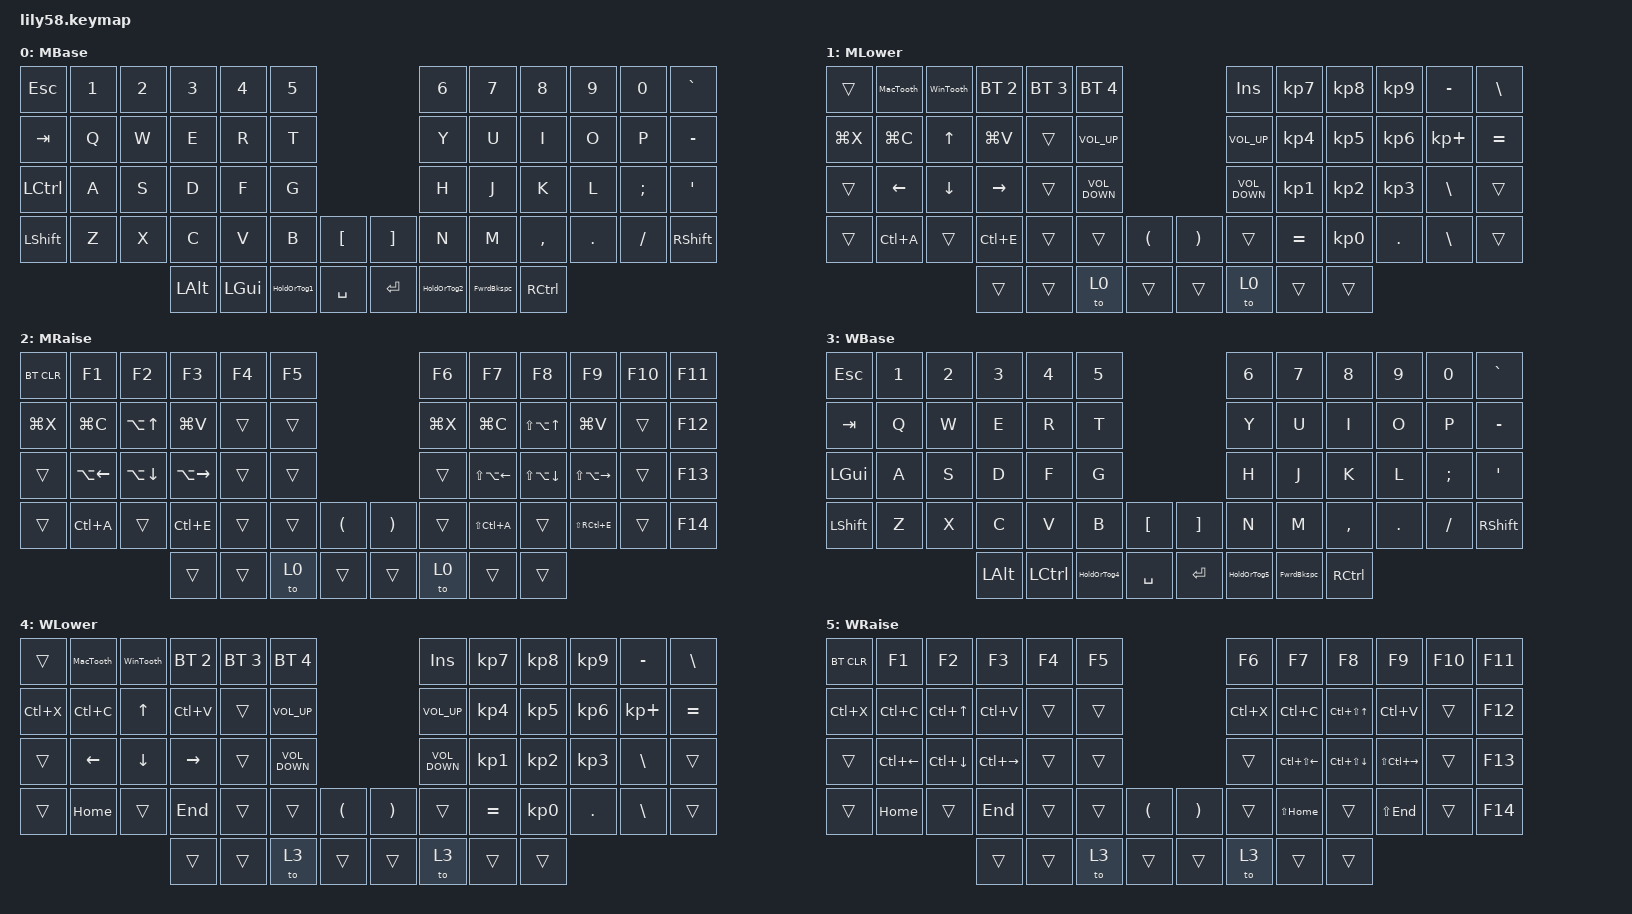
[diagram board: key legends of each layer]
/*
 * Copyright (c) 2020 The ZMK Contributors
 *
 * SPDX-License-Identifier: MIT
 */

#include <behaviors.dtsi>
#include <dt-bindings/zmk/bt.h>
#include <dt-bindings/zmk/keys.h>

&sk { quick-release; };

/ {
    combos { compatible = "zmk,combos"; };

    behaviors {
        FwrdBkspc: FwrdBkspc {
            compatible = "zmk,behavior-mod-morph";
            label = "FWRDBKSPC";
            bindings = <&kp BACKSPACE>, <&kp DELETE>;

            #binding-cells = <0>;
            mods = <(MOD_LSFT|MOD_RSFT)>;
        };

        ShiftCap: ShiftCap {
            compatible = "zmk,behavior-tap-dance";
            label = "SHIFTCAP";
            #binding-cells = <0>;
            bindings = <&kp LEFT_SHIFT>, <&kt RIGHT_SHIFT>;
        };

        HoldOrTog1: HoldOrTog1 {
            compatible = "zmk,behavior-tap-dance";
            label = "HOLDORTOG1";
            #binding-cells = <0>;
            bindings = <&mo 1>, <&sl 1>, <&tog 1>;
        };

        HoldOrTog2: HoldOrTog2 {
            compatible = "zmk,behavior-tap-dance";
            label = "HOLDORTOG2";
            #binding-cells = <0>;
            bindings = <&mo 2>, <&sl 2>, <&tog 2>;
        };

        HoldOrTog4: HoldOrTog4 {
            compatible = "zmk,behavior-tap-dance";
            label = "HOLDORTOG4";
            #binding-cells = <0>;
            bindings = <&mo 4>, <&sl 4>, <&tog 4>;
        };

        HoldOrTog5: HoldOrTog5 {
            compatible = "zmk,behavior-tap-dance";
            label = "HOLDORTOG5";
            #binding-cells = <0>;
            bindings = <&mo 5>, <&sl 5>, <&tog 5>;
        };
    };

    macros {
        MacTooth: MacTooth {
            compatible = "zmk,behavior-macro";
            #binding-cells = <0>;
            bindings = <&to 0 &bt BT_SEL 0>;
            label = "MACTOOTH";
        };

        WinTooth: WinTooth {
            compatible = "zmk,behavior-macro";
            #binding-cells = <0>;
            bindings = <&to 3 &bt BT_SEL 1>;
            label = "WINTOOTH";
        };
    };

    keymap {
        compatible = "zmk,keymap";

        mdefault_layer {
            display-name = "MBase";
            bindings = <
&kp ESCAPE      &kp N1  &kp N2  &kp N3    &kp N4        &kp N5                              &kp N6       &kp N7      &kp N8     &kp N9   &kp N0    &kp GRAVE
&kp TAB         &kp Q   &kp W   &kp E     &kp R         &kp T                               &kp Y        &kp U       &kp I      &kp O    &kp P     &kp MINUS
&kp LCTRL       &kp A   &kp S   &kp D     &kp F         &kp G                               &kp H        &kp J       &kp K      &kp L    &kp SEMI  &kp SQT
&kp LEFT_SHIFT  &kp Z   &kp X   &kp C     &kp V         &kp B        &kp LBKT     &kp RBKT  &kp N        &kp M       &kp COMMA  &kp DOT  &kp FSLH  &kp RIGHT_SHIFT
                                &kp LALT  &kp LEFT_GUI  &HoldOrTog1  &kp SPACE    &kp RET   &HoldOrTog2  &FwrdBkspc  &kp RCTRL
            >;
        };

        mlower_layer {
            display-name = "MLower";
            bindings = <
&trans     &MacTooth  &WinTooth  &bt BT_SEL 2  &bt BT_SEL 3  &bt BT_SEL 4                                                      &kp INSERT         &kp KP_NUMBER_7  &kp KP_NUMBER_8  &kp KP_NUMBER_9  &kp MINUS      &kp BACKSLASH
&kp LG(X)  &kp LG(C)  &kp UP     &kp LG(V)     &trans        &kp C_VOLUME_UP                                                   &kp C_VOLUME_UP    &kp KP_NUMBER_4  &kp KP_NUMBER_5  &kp KP_NUMBER_6  &kp KP_PLUS    &kp EQUAL
&trans     &kp LEFT   &kp DOWN   &kp RIGHT     &trans        &kp C_VOLUME_DOWN                                                 &kp C_VOLUME_DOWN  &kp KP_NUMBER_1  &kp KP_NUMBER_2  &kp KP_NUMBER_3  &kp BACKSLASH  &trans
&trans     &kp LC(A)  &trans     &kp LC(E)     &trans        &trans             &kp LEFT_PARENTHESIS    &kp RIGHT_PARENTHESIS  &trans             &kp EQUAL        &kp KP_NUMBER_0  &kp DOT          &kp BACKSLASH  &trans
                                 &trans        &trans        &to 0              &trans                  &trans                 &to 0              &trans           &trans
            >;
        };

        mraise_layer {
            display-name = "MRaise";
            bindings = <
&bt BT_CLR  &kp F1        &kp F2        &kp F3         &kp F4  &kp F5                                                 &kp F6     &kp F7            &kp F8            &kp F9             &kp F10  &kp F11
&kp LG(X)   &kp LG(C)     &kp LA(UP)    &kp LG(V)      &trans  &trans                                                 &kp LG(X)  &kp LG(C)         &kp LS(LA(UP))    &kp LG(V)          &trans   &kp F12
&trans      &kp LA(LEFT)  &kp LA(DOWN)  &kp LA(RIGHT)  &trans  &trans                                                 &trans     &kp LS(LA(LEFT))  &kp LS(LA(DOWN))  &kp LS(LA(RIGHT))  &trans   &kp F13
&trans      &kp LC(A)     &trans        &kp LC(E)      &trans  &trans  &kp LEFT_PARENTHESIS    &kp RIGHT_PARENTHESIS  &trans     &kp LS(LC(A))     &trans            &kp LS(RC(E))      &trans   &kp F14
                                        &trans         &trans  &to 0   &trans                  &trans                 &to 0      &trans            &trans
            >;
        };

        default_layer {
            display-name = "WBase";
            bindings = <
&kp ESCAPE      &kp N1  &kp N2  &kp N3    &kp N4     &kp N5                              &kp N6       &kp N7      &kp N8     &kp N9   &kp N0    &kp GRAVE
&kp TAB         &kp Q   &kp W   &kp E     &kp R      &kp T                               &kp Y        &kp U       &kp I      &kp O    &kp P     &kp MINUS
&kp LEFT_GUI    &kp A   &kp S   &kp D     &kp F      &kp G                               &kp H        &kp J       &kp K      &kp L    &kp SEMI  &kp SQT
&kp LEFT_SHIFT  &kp Z   &kp X   &kp C     &kp V      &kp B        &kp LBKT     &kp RBKT  &kp N        &kp M       &kp COMMA  &kp DOT  &kp FSLH  &kp RIGHT_SHIFT
                                &kp LALT  &kp LCTRL  &HoldOrTog4  &kp SPACE    &kp RET   &HoldOrTog5  &FwrdBkspc  &kp RCTRL
            >;
        };

        lower_layer {
            display-name = "WLower";
            bindings = <
&trans     &MacTooth  &WinTooth  &bt BT_SEL 2  &bt BT_SEL 3  &bt BT_SEL 4                                                      &kp INSERT         &kp KP_NUMBER_7  &kp KP_NUMBER_8  &kp KP_NUMBER_9  &kp MINUS      &kp BACKSLASH
&kp LC(X)  &kp LC(C)  &kp UP     &kp LC(V)     &trans        &kp C_VOLUME_UP                                                   &kp C_VOLUME_UP    &kp KP_NUMBER_4  &kp KP_NUMBER_5  &kp KP_NUMBER_6  &kp KP_PLUS    &kp EQUAL
&trans     &kp LEFT   &kp DOWN   &kp RIGHT     &trans        &kp C_VOLUME_DOWN                                                 &kp C_VOLUME_DOWN  &kp KP_NUMBER_1  &kp KP_NUMBER_2  &kp KP_NUMBER_3  &kp BACKSLASH  &trans
&trans     &kp HOME   &trans     &kp END       &trans        &trans             &kp LEFT_PARENTHESIS    &kp RIGHT_PARENTHESIS  &trans             &kp EQUAL        &kp KP_NUMBER_0  &kp DOT          &kp BACKSLASH  &trans
                                 &trans        &trans        &to 3              &trans                  &trans                 &to 3              &trans           &trans
            >;
        };

        raise_layer {
            display-name = "WRaise";
            bindings = <
&bt BT_CLR  &kp F1        &kp F2        &kp F3         &kp F4  &kp F5                                                 &kp F6     &kp F7            &kp F8            &kp F9             &kp F10  &kp F11
&kp LC(X)   &kp LC(C)     &kp LC(UP)    &kp LC(V)      &trans  &trans                                                 &kp LC(X)  &kp LC(C)         &kp LC(LS(UP))    &kp LC(V)          &trans   &kp F12
&trans      &kp LC(LEFT)  &kp LC(DOWN)  &kp LC(RIGHT)  &trans  &trans                                                 &trans     &kp LC(LS(LEFT))  &kp LC(LS(DOWN))  &kp LS(LC(RIGHT))  &trans   &kp F13
&trans      &kp HOME      &trans        &kp END        &trans  &trans  &kp LEFT_PARENTHESIS    &kp RIGHT_PARENTHESIS  &trans     &kp LS(HOME)      &trans            &kp LS(END)        &trans   &kp F14
                                        &trans         &trans  &to 3   &trans                  &trans                 &to 3      &trans            &trans
            >;
        };

        extra_1 {
            status = "reserved";
        };

        extra_2 {
            status = "reserved";
        };

        extra_3 {
            status = "reserved";
        };
    };
};
